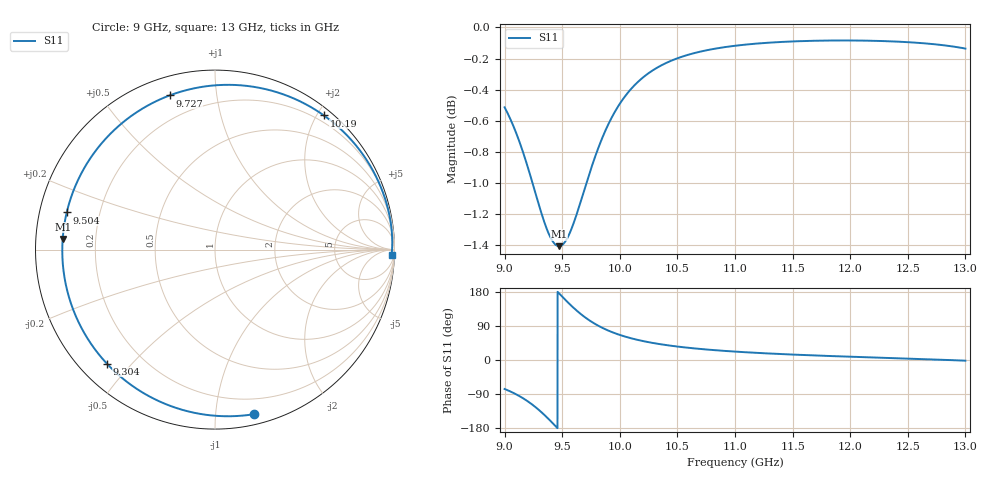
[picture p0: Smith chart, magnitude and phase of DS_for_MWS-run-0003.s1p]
! TOUCHSTONE file generated by CST DESIGN STUDIO
! Date and time: Wed Feb  5 13:34:20 2025
! Project name: C:\Work\MatlabApps\UnitCellOptimizationMatlab\CST\unitcell.cst
! Tree item: Tasks\Sweep1\SPara1\S-Parameters
! Header version: 2024
! Port assignment regex: !\s*Touchstone port\s*([0-9]+)\s*=\s*(CST MWS port|CST DES external port|CST DES block port)\s*(.+)\s* \(\"(.*)\"\)(\s*mode\s*([0-9]+))?.*
! Touchstone port assignment:
! Touchstone port 1 = CST DES external port 1 ("")
# GHz S MA R 50
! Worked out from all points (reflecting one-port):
!   4001 points, 9 GHz to 13 GHz, reference 50 ohm
!   lowest |S11| = -1.4 dB at 9.472 GHz (marker M1), VSWR 12.39, Z = 4.04 + j1.71 ohm
!   phase of S11 starts at -77 deg and turns -285 deg over the sweep
!   S11 on the Smith chart (normalised r, x): 9 GHz: 0.08, -1.27; 9.304 GHz: 0.08, -0.43; 9.504 GHz: 0.08, +0.12; 9.727 GHz: 0.09, +0.74; 10.19 GHz: 0.10, +2.09; 13 GHz: 26, -51
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9  0.9427 -76.5
9.075  0.9299 -86.7
9.172  0.909 -103.2
9.24  0.8919 -117.6
9.304  0.8755 -133.5
9.347  0.8655 -145.4
9.394  0.8568 -159.4
9.434  0.8522 -171.9
9.472  0.8507 176.0
9.5  0.8515 167.2
9.504  0.8517 165.9
9.556  0.8575 150.0
9.617  0.8691 132.6
9.671  0.8817 118.9
9.727  0.8954 106.4
9.781  0.9078 96.0
9.841  0.9203 86.0
9.919  0.9339 75.2
10  0.9452 66.1
10.088  0.9547 58.1
10.186  0.9627 51.0
10.33  0.971 42.7
10.5  0.9775 35.5
11  0.9866 22.2
11.5  0.9897 14.3
12  0.9904 8.7
12.5  0.9892 3.7
13  0.9845 -1.8
